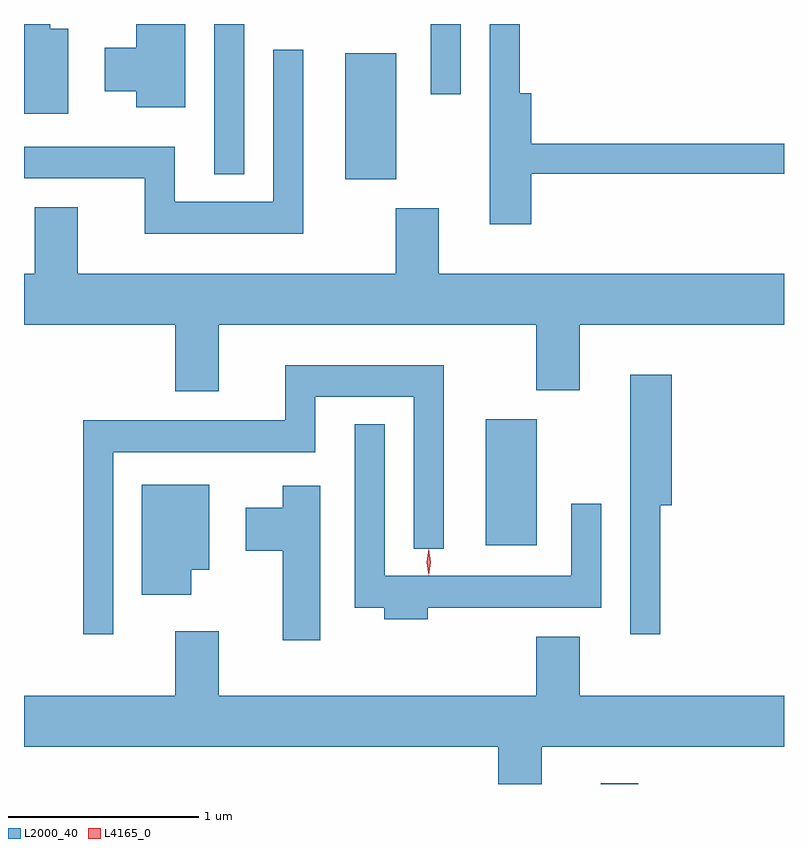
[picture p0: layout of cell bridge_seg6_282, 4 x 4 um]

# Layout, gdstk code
import gdstk
lib = gdstk.Library(unit=1e-6, precision=1e-09)
def R(c, l, rs):  # rectangles x0, y0, x1, y1
    for r in rs: c.add(gdstk.rectangle(r[:2], r[2:], *l))
def P(c, l, *ps):  # polygons
    for p in ps: c.add(gdstk.Polygon(p, *l))
L2000_40 = (2000, 40)
L4165_0 = (4165, 0)

bridge_seg6_282 = lib.new_cell('bridge_seg6_282')
R(bridge_seg6_282, L2000_40, [(1302.181,1547.619,1302.379,1547.624), (1301.576,1548.876,1301.844,1549.539), (1300.836,1550.801,1301.104,1551.464), (1300.146,1550.828,1300.304,1551.619), (1301.286,1551.248,1301.444,1551.619)])
P(bridge_seg6_282, L2000_40, [(1299.379,1551.594),(1299.284,1551.594),(1299.284,1551.619),(1299.145,1551.619),(1299.145,1551.146),(1299.379,1551.146)],
  [(1301.814,1550.831),(1303.145,1550.831),(1303.145,1550.989),(1301.814,1550.989),(1301.814,1551.254),(1301.754,1551.254),(1301.754,1551.619),(1301.596,1551.619),(1301.596,1550.566),(1301.814,1550.566)],
  [(1299.994,1551.619),(1299.736,1551.619),(1299.736,1551.494),(1299.571,1551.494),(1299.571,1551.266),(1299.736,1551.266),(1299.736,1551.181),(1299.994,1551.181)],
  [(1300.614,1551.483),(1300.456,1551.483),(1300.456,1550.684),(1299.939,1550.684),(1299.939,1550.974),(1299.145,1550.974),(1299.145,1550.806),(1299.781,1550.806),(1299.781,1550.516),(1300.614,1550.516)],
  [(1300.169,1550.036),(1301.841,1550.036),(1301.841,1549.691),(1302.069,1549.691),(1302.069,1550.036),(1303.145,1550.036),(1303.145,1550.304),(1301.329,1550.304),(1301.329,1550.649),(1301.101,1550.649),(1301.101,1550.304),(1299.429,1550.304),(1299.429,1550.654),(1299.201,1550.654),(1299.201,1550.304),(1299.145,1550.304),(1299.145,1550.036),(1299.941,1550.036),(1299.941,1549.686),(1300.169,1549.686)],
  [(1299.614,1549.366),(1300.679,1549.366),(1300.679,1549.656),(1301.196,1549.656),(1301.196,1548.858),(1301.354,1548.858),(1301.354,1549.824),(1300.521,1549.824),(1300.521,1549.534),(1299.456,1549.534),(1299.456,1548.408),(1299.614,1548.408)],
  [(1302.494,1549.086),(1302.554,1549.086),(1302.554,1549.774),(1302.336,1549.774),(1302.336,1548.408),(1302.494,1548.408)],
  [(1301.269,1548.546),(1302.184,1548.546),(1302.184,1549.093),(1302.026,1549.093),(1302.026,1548.714),(1301.044,1548.714),(1301.044,1549.513),(1300.886,1549.513),(1300.886,1548.546),(1301.041,1548.546),(1301.041,1548.486),(1301.269,1548.486)],
  [(1300.024,1548.746),(1300.119,1548.746),(1300.119,1549.194),(1299.766,1549.194),(1299.766,1548.616),(1300.024,1548.616)],
  [(1300.704,1549.189),(1300.506,1549.189),(1300.506,1549.074),(1300.311,1549.074),(1300.311,1548.846),(1300.506,1548.846),(1300.506,1548.376),(1300.704,1548.376)],
  [(1301.869,1547.816),(1303.145,1547.816),(1303.145,1548.084),(1302.069,1548.084),(1302.069,1548.394),(1301.841,1548.394),(1301.841,1548.084),(1300.169,1548.084),(1300.169,1548.424),(1299.941,1548.424),(1299.941,1548.084),(1299.145,1548.084),(1299.145,1547.816),(1301.641,1547.816),(1301.641,1547.619),(1301.869,1547.619)])
P(bridge_seg6_282, L4165_0, [(1301.274,1548.717),(1301.265,1548.787),(1301.274,1548.856),(1301.275,1548.856),(1301.275,1548.856),(1301.285,1548.787),(1301.275,1548.717),(1301.275,1548.717)],
  [(1301.274,1548.719),(1301.274,1548.72),(1301.264,1548.786),(1301.274,1548.852),(1301.274,1548.853),(1301.275,1548.852),(1301.284,1548.786),(1301.275,1548.72)])

lib.write_gds('bridge_seg6_282.gds')
